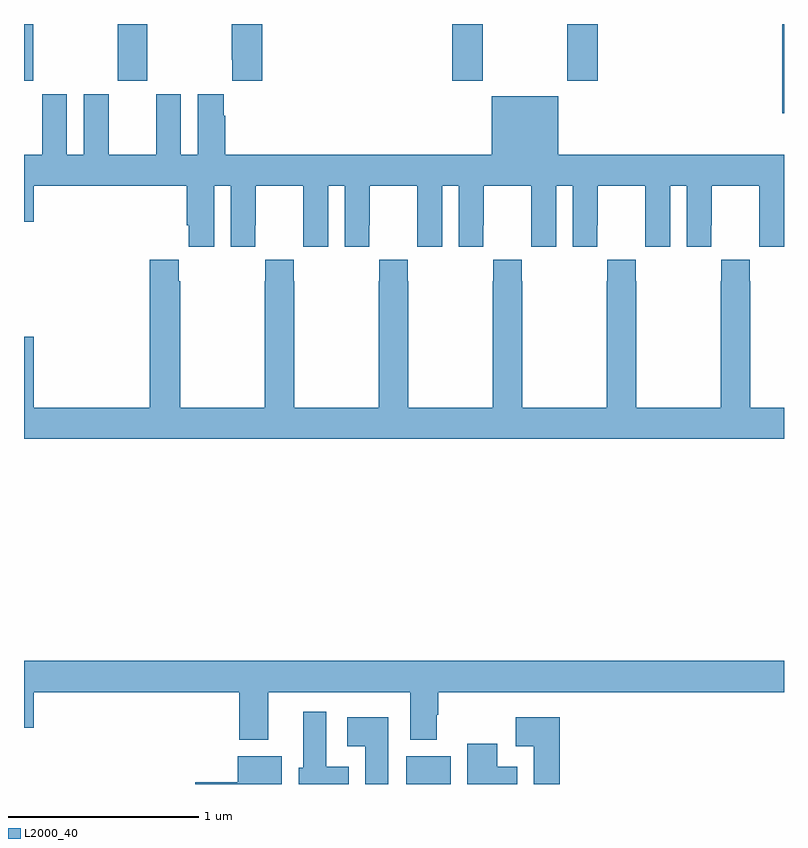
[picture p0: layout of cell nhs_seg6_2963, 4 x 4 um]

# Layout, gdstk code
import gdstk
lib = gdstk.Library(unit=1e-6, precision=1e-09)
def R(c, l, rs):  # rectangles x0, y0, x1, y1
    for r in rs: c.add(gdstk.rectangle(r[:2], r[2:], *l))
def P(c, l, *ps):  # polygons
    for p in ps: c.add(gdstk.Polygon(p, *l))
L2000_40 = (2000, 40)

nhs_seg6_2963 = lib.new_cell('nhs_seg6_2963')
R(nhs_seg6_2963, L2000_40, [(287.012,965.5,287.245,965.647), (288.991,969.029,289,969.5), (285,969.201,285.048,969.5), (285.493,969.201,285.648,969.5), (287.255,969.201,287.415,969.5), (287.86,969.201,288.02,969.5)])
P(nhs_seg6_2963, L2000_40, [(286.253,969.5),(286.093,969.5),(286.093,969.313),(286.097,969.313),(286.097,969.201),(286.253,969.201)],
  [(286.088,968.328),(286.218,968.328),(286.218,968.44),(286.219,968.44),(286.219,968.648),(286.469,968.648),(286.469,968.44),(286.47,968.44),(286.47,968.328),(286.6,968.328),(286.6,968.648),(286.688,968.648),(286.688,968.328),(286.818,968.328),(286.818,968.44),(286.819,968.44),(286.819,968.648),(287.069,968.648),(287.069,968.44),(287.07,968.44),(287.07,968.328),(287.2,968.328),(287.2,968.648),(287.288,968.648),(287.288,968.328),(287.418,968.328),(287.418,968.44),(287.419,968.44),(287.419,968.648),(287.669,968.648),(287.669,968.44),(287.67,968.44),(287.67,968.328),(287.8,968.328),(287.8,968.648),(287.888,968.648),(287.888,968.328),(288.018,968.328),(288.018,968.44),(288.019,968.44),(288.019,968.648),(288.269,968.648),(288.269,968.44),(288.27,968.44),(288.27,968.328),(288.4,968.328),(288.4,968.648),(288.488,968.648),(288.488,968.328),(288.618,968.328),(288.618,968.44),(288.619,968.44),(288.619,968.648),(288.869,968.648),(288.869,968.44),(288.87,968.44),(288.87,968.328),(289,968.328),(289,968.812),(287.812,968.812),(287.812,969.121),(287.462,969.121),(287.462,968.812),(286.058,968.812),(286.058,969.017),(286.051,969.017),(286.051,969.13),(285.914,969.13),(285.914,968.812),(285.826,968.812),(285.826,969.13),(285.695,969.13),(285.695,968.812),(285.445,968.812),(285.445,969.13),(285.314,969.13),(285.314,968.812),(285.226,968.812),(285.226,969.13),(285.095,969.13),(285.095,968.812),(285,968.812),(285,968.46),(285.052,968.46),(285.052,968.648),(285.857,968.648),(285.857,968.44),(285.866,968.44),(285.866,968.328),(286,968.328),(286,968.648),(286.088,968.648)],
  [(289,967.48),(288.822,967.48),(288.822,968.147),(288.819,968.147),(288.819,968.26),(288.669,968.26),(288.669,968.147),(288.667,968.147),(288.667,967.48),(288.222,967.48),(288.222,968.147),(288.219,968.147),(288.219,968.26),(288.069,968.26),(288.069,968.147),(288.067,968.147),(288.067,967.48),(287.622,967.48),(287.622,968.147),(287.619,968.147),(287.619,968.26),(287.469,968.26),(287.469,968.147),(287.467,968.147),(287.467,967.48),(287.022,967.48),(287.022,968.147),(287.019,968.147),(287.019,968.26),(286.869,968.26),(286.869,968.147),(286.867,968.147),(286.867,967.48),(286.422,967.48),(286.422,968.147),(286.419,968.147),(286.419,968.26),(286.269,968.26),(286.269,968.147),(286.267,968.147),(286.267,967.48),(285.822,967.48),(285.822,968.147),(285.815,968.147),(285.815,968.26),(285.662,968.26),(285.662,967.48),(285.052,967.48),(285.052,967.855),(285,967.855),(285,967.316),(289,967.316)],
  [(286.285,965.984),(287.033,965.984),(287.033,965.732),(287.173,965.732),(287.173,965.864),(287.181,965.864),(287.181,965.984),(289,965.984),(289,966.148),(285,966.148),(285,965.796),(285.052,965.796),(285.052,965.984),(286.133,965.984),(286.133,965.732),(286.285,965.732)],
  [(286.708,965.59),(286.591,965.59),(286.591,965.881),(286.469,965.881),(286.469,965.586),(286.445,965.586),(286.445,965.5),(286.708,965.5)],
  [(286.918,965.851),(286.701,965.851),(286.701,965.699),(286.796,965.699),(286.796,965.5),(286.918,965.5)],
  [(287.819,965.851),(287.589,965.851),(287.589,965.699),(287.684,965.699),(287.684,965.5),(287.819,965.5)],
  [(287.596,965.59),(287.491,965.59),(287.491,965.713),(287.333,965.713),(287.333,965.5),(287.596,965.5)],
  [(286.357,965.647),(286.124,965.647),(286.124,965.508),(285.9,965.508),(285.9,965.5),(286.357,965.5)])

lib.write_gds('nhs_seg6_2963.gds')
